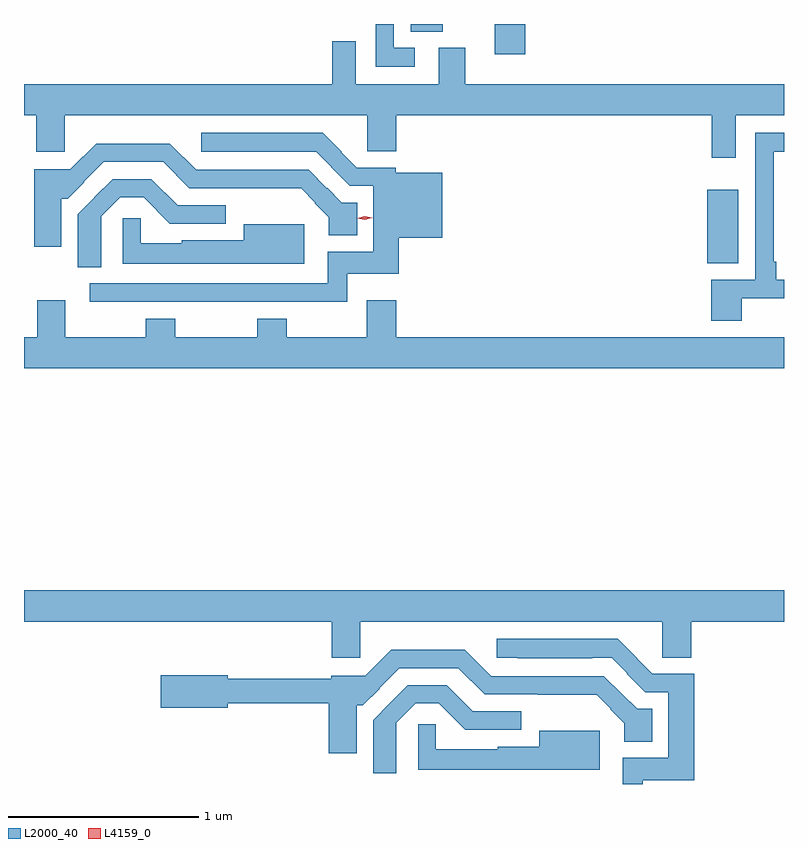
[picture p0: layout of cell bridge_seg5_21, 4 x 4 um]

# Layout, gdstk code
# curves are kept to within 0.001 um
import gdstk
lib = gdstk.Library(unit=1e-6, precision=1e-09)
def R(c, l, rs):  # rectangles x0, y0, x1, y1
    for r in rs: c.add(gdstk.rectangle(r[:2], r[2:], *l))
def P(c, l, *ps):  # polygons
    for p in ps: c.add(gdstk.Polygon(p, *l))
L2000_40 = (2000, 40)
L4159_0 = (4159, 0)

bridge_seg5_21 = lib.new_cell('bridge_seg5_21')
R(bridge_seg5_21, L2000_40, [(1024.484,845.327,1024.648,845.713), (1023.365,846.426,1023.527,846.585), (1022.924,846.545,1023.091,846.585)])
P(bridge_seg5_21, L2000_40, [(1022.944,846.46),(1022.835,846.46),(1022.835,846.585),(1022.739,846.585),(1022.739,846.359),(1022.944,846.359)],
  [(1024.633,846.104),(1024.888,846.104),(1024.888,846.268),(1023.211,846.268),(1023.211,846.46),(1023.071,846.46),(1023.071,846.268),(1022.635,846.268),(1022.635,846.493),(1022.51,846.493),(1022.51,846.268),(1020.888,846.268),(1020.888,846.104),(1020.953,846.104),(1020.953,845.913),(1021.103,845.913),(1021.103,846.104),(1022.694,846.104),(1022.694,845.914),(1022.846,845.914),(1022.846,846.104),(1024.507,846.104),(1024.507,845.88),(1024.633,845.88)],
  [(1024.665,845.141),(1024.888,845.141),(1024.888,845.239),(1024.846,845.239),(1024.846,845.335),(1024.833,845.335),(1024.833,845.912),(1024.888,845.912),(1024.888,846.013),(1024.737,846.013),(1024.737,845.238),(1024.505,845.238),(1024.505,845.022),(1024.665,845.022)],
  [(1022.027,845.124),(1022.59,845.123),(1022.59,845.27),(1022.861,845.27),(1022.861,845.459),(1023.088,845.459),(1023.088,845.803),(1022.844,845.803),(1022.844,845.829),(1022.64,845.829),(1022.559,845.91),(1022.561,845.912),(1022.46,846.013),(1021.821,846.013),(1021.821,845.913),(1022.427,845.913),(1022.508,845.832),(1022.506,845.83),(1022.603,845.733),(1022.726,845.733),(1022.726,845.386),(1022.486,845.386),(1022.486,845.22),(1021.233,845.22),(1021.233,845.124)],
  [(1021.084,845.664),(1021.118,845.664),(1021.206,845.751),(1021.203,845.754),(1021.308,845.859),(1021.62,845.859),(1021.758,845.721),(1022.348,845.72),(1022.422,845.645),(1022.419,845.642),(1022.492,845.569),(1022.492,845.472),(1022.641,845.472),(1022.641,845.644),(1022.561,845.644),(1022.386,845.817),(1021.794,845.817),(1021.655,845.956),(1021.267,845.956),(1021.131,845.82),(1020.943,845.82),(1020.943,845.412),(1021.084,845.412)],
  [(1021.294,845.572),(1021.395,845.673),(1021.518,845.673),(1021.656,845.535),(1021.951,845.535),(1021.951,845.631),(1021.696,845.631),(1021.558,845.769),(1021.355,845.769),(1021.172,845.585),(1021.172,845.305),(1021.294,845.305)],
  [(1022.364,845.53),(1022.045,845.53),(1022.045,845.446),(1021.719,845.446),(1021.719,845.431),(1021.502,845.431),(1021.502,845.563),(1021.408,845.563),(1021.408,845.324),(1022.364,845.324)],
  [(1024.888,844.936),(1022.846,844.936),(1022.846,845.131),(1022.693,845.131),(1022.693,844.936),(1022.271,844.936),(1022.271,845.035),(1022.116,845.035),(1022.116,844.936),(1021.683,844.936),(1021.683,845.035),(1021.528,845.035),(1021.528,844.936),(1021.105,844.936),(1021.105,845.131),(1020.958,845.131),(1020.958,844.936),(1020.888,844.936),(1020.888,844.772),(1024.888,844.772)],
  [(1022.657,843.44),(1024.248,843.44),(1024.248,843.25),(1024.4,843.25),(1024.4,843.44),(1024.888,843.44),(1024.888,843.604),(1020.888,843.604),(1020.888,843.44),(1022.507,843.44),(1022.507,843.249),(1022.657,843.249)],
  [(1024.144,842.606),(1024.415,842.606),(1024.415,843.165),(1024.194,843.165),(1024.113,843.246),(1024.115,843.248),(1024.014,843.349),(1023.375,843.349),(1023.375,843.249),(1023.981,843.249),(1024.062,843.168),(1024.06,843.166),(1024.157,843.069),(1024.28,843.069),(1024.28,842.722),(1024.04,842.722),(1024.04,842.585),(1024.144,842.585)],
  [(1022.638,843),(1022.672,843),(1022.76,843.087),(1022.757,843.09),(1022.862,843.195),(1023.174,843.195),(1023.312,843.057),(1023.902,843.056),(1023.976,842.981),(1023.973,842.978),(1024.046,842.905),(1024.046,842.808),(1024.195,842.808),(1024.195,842.98),(1024.115,842.98),(1023.94,843.153),(1023.348,843.153),(1023.209,843.292),(1022.821,843.292),(1022.685,843.156),(1022.504,843.156),(1022.504,843.139),(1021.96,843.139),(1021.96,843.157),(1021.608,843.157),(1021.608,842.987),(1021.96,842.987),(1021.96,843.01),(1022.492,843.01),(1022.492,842.748),(1022.638,842.748)],
  [(1022.848,842.908),(1022.949,843.009),(1023.072,843.009),(1023.21,842.871),(1023.505,842.871),(1023.505,842.967),(1023.25,842.967),(1023.112,843.105),(1022.909,843.105),(1022.726,842.921),(1022.726,842.641),(1022.848,842.641)],
  [(1023.918,842.866),(1023.599,842.866),(1023.599,842.782),(1023.381,842.782),(1023.381,842.767),(1023.056,842.767),(1023.056,842.899),(1022.962,842.899),(1022.962,842.66),(1023.918,842.66)])
P(bridge_seg5_21, L4159_0, [(1022.681,845.554),(1022.641,845.563),(1022.641,845.563),(1022.641,845.563),(1022.681,845.574),(1022.721,845.566),(1022.721,845.566),(1022.721,845.566)])

lib.write_gds('bridge_seg5_21.gds')
